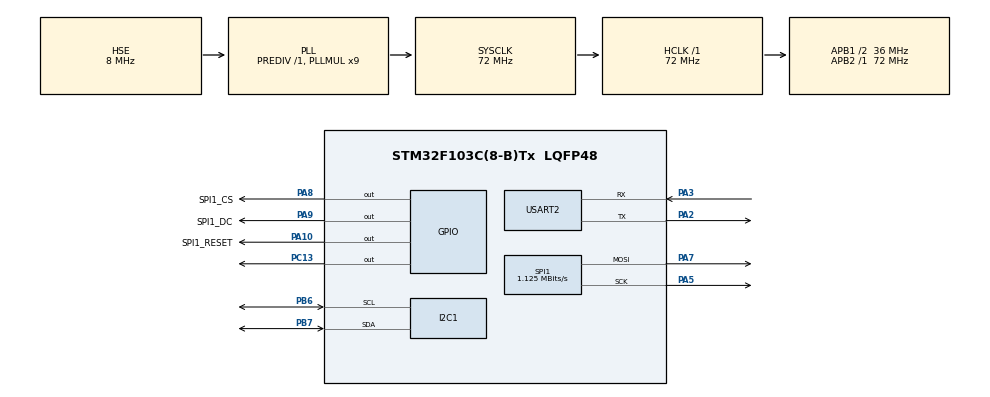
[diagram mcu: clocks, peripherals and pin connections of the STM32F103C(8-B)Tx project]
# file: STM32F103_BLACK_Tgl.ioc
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Mcu.Family=STM32F1
Mcu.Name=STM32F103C(8-B)Tx
Mcu.Package=LQFP48
NVIC.PriorityGroup=NVIC_PRIORITYGROUP_4
NVIC.TIM2_IRQn=true\:0\:0\:false\:false\:true\:true
NVIC.TIM3_IRQn=true\:0\:0\:false\:false\:true\:true
PA10.GPIO_Label=SPI1_RESET
PA10.Signal=GPIO_Output
PA2.Mode=Asynchronous
PA2.Signal=USART2_TX
PA3.Mode=Asynchronous
PA3.Signal=USART2_RX
PA5.Mode=TX_Only_Simplex_Unidirect_Master
PA5.Signal=SPI1_SCK
PA7.Mode=TX_Only_Simplex_Unidirect_Master
PA7.Signal=SPI1_MOSI
PA8.GPIO_Label=SPI1_CS
PA8.Signal=GPIO_Output
PA9.GPIO_Label=SPI1_DC
PA9.Signal=GPIO_Output
PB6.GPIO_Speed=GPIO_SPEED_FREQ_HIGH
PB6.Mode=I2C
PB6.Signal=I2C1_SCL
PB7.GPIO_Speed=GPIO_SPEED_FREQ_HIGH
PB7.Mode=I2C
PB7.Signal=I2C1_SDA
PC13-TAMPER-RTC.Signal=GPIO_Output
PD0-OSC_IN.Mode=HSE-External-Oscillator
PD0-OSC_IN.Signal=RCC_OSC_IN
PD1-OSC_OUT.Mode=HSE-External-Oscillator
PD1-OSC_OUT.Signal=RCC_OSC_OUT
ProjectManager.HeapSize=0x200
ProjectManager.StackSize=0x400
ProjectManager.TargetToolchain=TrueSTUDIO
RCC.AHBFreq_Value=72000000
RCC.APB1CLKDivider=RCC_HCLK_DIV2
RCC.APB1Freq_Value=36000000
RCC.APB1TimFreq_Value=72000000
RCC.APB2Freq_Value=72000000
RCC.APB2TimFreq_Value=72000000
RCC.HCLKFreq_Value=72000000
RCC.PLLMUL=RCC_PLL_MUL9
RCC.PLLSourceVirtual=RCC_PLLSOURCE_HSE
RCC.SYSCLKFreq_VALUE=72000000
RCC.SYSCLKSource=RCC_SYSCLKSOURCE_PLLCLK
RCC.USBFreq_Value=72000000
SPI1.BaudRatePrescaler=SPI_BAUDRATEPRESCALER_64
SPI1.CalculateBaudRate=1.125 MBits/s
SPI1.Direction=SPI_DIRECTION_2LINES
SPI1.Mode=SPI_MODE_MASTER
SPI1.VirtualType=VM_MASTER
TIM2.Period=9999
TIM2.Prescaler=7199
TIM3.Period=4999
TIM3.Prescaler=7199
USART2.VirtualMode=VM_ASYNC
VP_SYS_VS_ND.Mode=No_Debug
VP_TIM2_VS_ClockSourceINT.Mode=Internal
VP_TIM3_VS_ClockSourceINT.Mode=Internal
board=custom

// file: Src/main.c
/**
  ******************************************************************************
  * @file           : main.c
  * @brief          : Main program body
  ******************************************************************************
  ** This notice applies to any and all portions of this file
  * that are not between comment pairs USER CODE BEGIN and
  * USER CODE END. Other portions of this file, whether
  * inserted by the user or by software development tools
  * are owned by their respective copyright owners.
  *
  * COPYRIGHT(c) 2018 STMicroelectronics
  *
  * Redistribution and use in source and binary forms, with or without modification,
  * are permitted provided that the following conditions are met:
  *   1. Redistributions of source code must retain the above copyright notice,
  *      this list of conditions and the following disclaimer.
  *   2. Redistributions in binary form must reproduce the above copyright notice,
  *      this list of conditions and the following disclaimer in the documentation
  *      and/or other materials provided with the distribution.
  *   3. Neither the name of STMicroelectronics nor the names of its contributors
  *      may be used to endorse or promote products derived from this software
  *      without specific prior written permission.
  *
  * THIS SOFTWARE IS PROVIDED BY THE COPYRIGHT HOLDERS AND CONTRIBUTORS "AS IS"
  * AND ANY EXPRESS OR IMPLIED WARRANTIES, INCLUDING, BUT NOT LIMITED TO, THE
  * IMPLIED WARRANTIES OF MERCHANTABILITY AND FITNESS FOR A PARTICULAR PURPOSE ARE
  * DISCLAIMED. IN NO EVENT SHALL THE COPYRIGHT HOLDER OR CONTRIBUTORS BE LIABLE
  * FOR ANY DIRECT, INDIRECT, INCIDENTAL, SPECIAL, EXEMPLARY, OR CONSEQUENTIAL
  * DAMAGES (INCLUDING, BUT NOT LIMITED TO, PROCUREMENT OF SUBSTITUTE GOODS OR
  * SERVICES; LOSS OF USE, DATA, OR PROFITS; OR BUSINESS INTERRUPTION) HOWEVER
  * CAUSED AND ON ANY THEORY OF LIABILITY, WHETHER IN CONTRACT, STRICT LIABILITY,
  * OR TORT (INCLUDING NEGLIGENCE OR OTHERWISE) ARISING IN ANY WAY OUT OF THE USE
  * OF THIS SOFTWARE, EVEN IF ADVISED OF THE POSSIBILITY OF SUCH DAMAGE.
  *
  ******************************************************************************
  */
#include "main.h"
#include "stm32f1xx_hal.h"

/* USER CODE BEGIN Includes */
#include <stdio.h>
#include <string.h>
#include "u8g.h"
#include "u8g_arm.h"   // spi설정을 위해서 반드시 수정해야 하는 header파일
#include "userDelay.h"
/* USER CODE END Includes */

I2C_HandleTypeDef hi2c1;

SPI_HandleTypeDef hspi1;

TIM_HandleTypeDef htim2;
TIM_HandleTypeDef htim3;

UART_HandleTypeDef huart2;

/* USER CODE BEGIN PV */
/* Private variables ---------------------------------------------------------*/
#define I2C_ADDR     (0x44<<1)

u8g_t 	u8g;
uint8_t		Tx_I2C_Data[2];
uint8_t 	Rx_I2C_Data[6];

/* USER CODE END PV */

void SystemClock_Config(void);
static void MX_GPIO_Init(void);
static void MX_USART2_UART_Init(void);
static void MX_SPI1_Init(void);
static void MX_I2C1_Init(void);
static void MX_TIM2_Init(void);
static void MX_TIM3_Init(void);

/* USER CODE BEGIN PFP */
/* Private function prototypes -----------------------------------------------*/
void HAL_TIM_PeriodElapsedCallback(TIM_HandleTypeDef *htim);

/* USER CODE END PFP */

/* USER CODE BEGIN 0 */
char prtData1[20];
char prtData2[20];
uint16_t temp,humi;
double  Ftemp, Fhumi;
uint8_t		count = 0;

void HAL_TIM_PeriodElapsedCallback(TIM_HandleTypeDef *htim)
{
	if(htim->Instance==TIM2) {
		if(count++==2)
		{
			count = 0;
			Tx_I2C_Data[0] = 0x00;
			while(HAL_I2C_Master_Transmit(&hi2c1,(uint16_t)I2C_ADDR,(uint8_t *)&Tx_I2C_Data,0,1000)!=HAL_OK);
			delay_ms(50);
			while(HAL_I2C_Master_Receive (&hi2c1,(uint16_t)I2C_ADDR,(uint8_t *)Rx_I2C_Data,4,1000)!=HAL_OK);

			temp = 0;
			temp = (Rx_I2C_Data[0]<<8) | Rx_I2C_Data[1];
			temp &= 0x3FFF;
			Fhumi = (temp/16383.0)*100.0;

			humi = 0;
			humi = (Rx_I2C_Data[2]<<8) | Rx_I2C_Data[3];
			humi &= 0xFFFC;
			Ftemp = (humi/4.0/16383)*165.0-40;

			// send data to Remote per 5 sec
			sprintf(prtData1,"%8.3f C ",Ftemp);
			sprintf(prtData2,"%8.3f %% ",Fhumi);
			HAL_UART_Transmit(&huart2,(uint8_t *)prtData1, strlen(prtData1),1000);
			HAL_UART_Transmit(&huart2,(uint8_t *)prtData2, strlen(prtData2),1000);
			HAL_UART_Transmit(&huart2,(uint8_t *)"\r\n", 2,1000);

			u8g_FirstPage(&u8g);
			do
			{
			       u8g.font = u8g_font_profont22;   //  u8g_font_profont12
			       u8g_DrawStr(&u8g, 2, 25,prtData1);
			       u8g.font = u8g_font_profont22;   //  u8g_font_profont12
			       u8g_DrawStr(&u8g, 2, 55,prtData2);
			} while ( u8g_NextPage(&u8g) );

		}
	}
	else if(htim->Instance==TIM3) {
		HAL_GPIO_TogglePin(GPIOC, GPIO_PIN_13);
	}
}

/* USER CODE END 0 */

int main(void)
{

  /* MCU Configuration----------------------------------------------------------*/

  /* Reset of all peripherals, Initializes the Flash interface and the Systick. */
  HAL_Init();

  /* Configure the system clock */
  SystemClock_Config();

  /* Initialize all configured peripherals */
  MX_GPIO_Init();
  MX_USART2_UART_Init();
  MX_SPI1_Init();
  MX_I2C1_Init();
  MX_TIM2_Init();
  MX_TIM3_Init();
  /* USER CODE BEGIN 2 */
  while(HAL_TIM_Base_Start_IT(&htim2)!=HAL_OK);
  while(HAL_TIM_Base_Start_IT(&htim3)!=HAL_OK);

  // USART Receive Interrupt1,2

  u8g_InitComFn(&u8g, &u8g_dev_sh1106_128x64_hw_spi, u8g_com_hw_spi_fn);
  HAL_Delay(100);

  u8g_FirstPage(&u8g);
  do
  {
       u8g.font = u8g_font_profont22;   //  u8g_font_profont12
       u8g_DrawStr(&u8g, 2, 25,"Code Test...");
       u8g.font = u8g_font_profont29;   //  u8g_font_profont12
       u8g_DrawStr(&u8g, 2, 55,"Code Test...");
  } while ( u8g_NextPage(&u8g) );
  /* USER CODE END 2 */

  /* Infinite loop */
  while (1)
  {

  /* USER CODE BEGIN 3 */
		//HAL_UART_Transmit(&huart2,(uint8_t *)"OLED012345\r\n", 12,1000);
		// HAL_GPIO_TogglePin(GPIOC, GPIO_PIN_13);
		// HAL_Delay(500);
  }
  /* USER CODE END 3 */

}

void SystemClock_Config(void)
{

  RCC_OscInitTypeDef RCC_OscInitStruct;
  RCC_ClkInitTypeDef RCC_ClkInitStruct;

    /**Initializes the CPU, AHB and APB busses clocks
    */
  RCC_OscInitStruct.OscillatorType = RCC_OSCILLATORTYPE_HSE;
  RCC_OscInitStruct.HSEState = RCC_HSE_ON;
  RCC_OscInitStruct.HSEPredivValue = RCC_HSE_PREDIV_DIV1;
  RCC_OscInitStruct.HSIState = RCC_HSI_ON;
  RCC_OscInitStruct.PLL.PLLState = RCC_PLL_ON;
  RCC_OscInitStruct.PLL.PLLSource = RCC_PLLSOURCE_HSE;
  RCC_OscInitStruct.PLL.PLLMUL = RCC_PLL_MUL9;
  if (HAL_RCC_OscConfig(&RCC_OscInitStruct) != HAL_OK)
  {
    _Error_Handler(__FILE__, __LINE__);
  }

    /**Initializes the CPU, AHB and APB busses clocks
    */
  RCC_ClkInitStruct.ClockType = RCC_CLOCKTYPE_HCLK|RCC_CLOCKTYPE_SYSCLK
                              |RCC_CLOCKTYPE_PCLK1|RCC_CLOCKTYPE_PCLK2;
  RCC_ClkInitStruct.SYSCLKSource = RCC_SYSCLKSOURCE_PLLCLK;
  RCC_ClkInitStruct.AHBCLKDivider = RCC_SYSCLK_DIV1;
  RCC_ClkInitStruct.APB1CLKDivider = RCC_HCLK_DIV2;
  RCC_ClkInitStruct.APB2CLKDivider = RCC_HCLK_DIV1;

  if (HAL_RCC_ClockConfig(&RCC_ClkInitStruct, FLASH_LATENCY_2) != HAL_OK)
  {
    _Error_Handler(__FILE__, __LINE__);
  }

    /**Configure the Systick interrupt time
    */
  HAL_SYSTICK_Config(HAL_RCC_GetHCLKFreq()/1000);

    /**Configure the Systick
    */
  HAL_SYSTICK_CLKSourceConfig(SYSTICK_CLKSOURCE_HCLK);

  /* SysTick_IRQn interrupt configuration */
  HAL_NVIC_SetPriority(SysTick_IRQn, 0, 0);
}

/* I2C1 init function */
static void MX_I2C1_Init(void)
{

  hi2c1.Instance = I2C1;
  hi2c1.Init.ClockSpeed = 100000;
  hi2c1.Init.DutyCycle = I2C_DUTYCYCLE_2;
  hi2c1.Init.OwnAddress1 = 0;
  hi2c1.Init.AddressingMode = I2C_ADDRESSINGMODE_7BIT;
  hi2c1.Init.DualAddressMode = I2C_DUALADDRESS_DISABLE;
  hi2c1.Init.OwnAddress2 = 0;
  hi2c1.Init.GeneralCallMode = I2C_GENERALCALL_DISABLE;
  hi2c1.Init.NoStretchMode = I2C_NOSTRETCH_DISABLE;
  if (HAL_I2C_Init(&hi2c1) != HAL_OK)
  {
    _Error_Handler(__FILE__, __LINE__);
  }

}

/* SPI1 init function */
static void MX_SPI1_Init(void)
{

  /* SPI1 parameter configuration*/
  hspi1.Instance = SPI1;
  hspi1.Init.Mode = SPI_MODE_MASTER;
  hspi1.Init.Direction = SPI_DIRECTION_2LINES;
  hspi1.Init.DataSize = SPI_DATASIZE_8BIT;
  hspi1.Init.CLKPolarity = SPI_POLARITY_LOW;
  hspi1.Init.CLKPhase = SPI_PHASE_1EDGE;
  hspi1.Init.NSS = SPI_NSS_SOFT;
  hspi1.Init.BaudRatePrescaler = SPI_BAUDRATEPRESCALER_64;
  hspi1.Init.FirstBit = SPI_FIRSTBIT_MSB;
  hspi1.Init.TIMode = SPI_TIMODE_DISABLE;
  hspi1.Init.CRCCalculation = SPI_CRCCALCULATION_DISABLE;
  hspi1.Init.CRCPolynomial = 10;
  if (HAL_SPI_Init(&hspi1) != HAL_OK)
  {
    _Error_Handler(__FILE__, __LINE__);
  }

}

/* TIM2 init function */
static void MX_TIM2_Init(void)
{

  TIM_ClockConfigTypeDef sClockSourceConfig;
  TIM_MasterConfigTypeDef sMasterConfig;

  htim2.Instance = TIM2;
  htim2.Init.Prescaler = 7199;
  htim2.Init.CounterMode = TIM_COUNTERMODE_UP;
  htim2.Init.Period = 9999;
  htim2.Init.ClockDivision = TIM_CLOCKDIVISION_DIV1;
  htim2.Init.AutoReloadPreload = TIM_AUTORELOAD_PRELOAD_DISABLE;
  if (HAL_TIM_Base_Init(&htim2) != HAL_OK)
  {
    _Error_Handler(__FILE__, __LINE__);
  }

  sClockSourceConfig.ClockSource = TIM_CLOCKSOURCE_INTERNAL;
  if (HAL_TIM_ConfigClockSource(&htim2, &sClockSourceConfig) != HAL_OK)
  {
    _Error_Handler(__FILE__, __LINE__);
  }

  sMasterConfig.MasterOutputTrigger = TIM_TRGO_RESET;
  sMasterConfig.MasterSlaveMode = TIM_MASTERSLAVEMODE_DISABLE;
  if (HAL_TIMEx_MasterConfigSynchronization(&htim2, &sMasterConfig) != HAL_OK)
  {
    _Error_Handler(__FILE__, __LINE__);
  }

}

/* TIM3 init function */
static void MX_TIM3_Init(void)
{

  TIM_ClockConfigTypeDef sClockSourceConfig;
  TIM_MasterConfigTypeDef sMasterConfig;

  htim3.Instance = TIM3;
  htim3.Init.Prescaler = 7199;
  htim3.Init.CounterMode = TIM_COUNTERMODE_UP;
  htim3.Init.Period = 4999;
  htim3.Init.ClockDivision = TIM_CLOCKDIVISION_DIV1;
  htim3.Init.AutoReloadPreload = TIM_AUTORELOAD_PRELOAD_DISABLE;
  if (HAL_TIM_Base_Init(&htim3) != HAL_OK)
  {
    _Error_Handler(__FILE__, __LINE__);
  }

  sClockSourceConfig.ClockSource = TIM_CLOCKSOURCE_INTERNAL;
  if (HAL_TIM_ConfigClockSource(&htim3, &sClockSourceConfig) != HAL_OK)
  {
    _Error_Handler(__FILE__, __LINE__);
  }

  sMasterConfig.MasterOutputTrigger = TIM_TRGO_RESET;
  sMasterConfig.MasterSlaveMode = TIM_MASTERSLAVEMODE_DISABLE;
  if (HAL_TIMEx_MasterConfigSynchronization(&htim3, &sMasterConfig) != HAL_OK)
  {
    _Error_Handler(__FILE__, __LINE__);
  }

}

/* USART2 init function */
static void MX_USART2_UART_Init(void)
{

  huart2.Instance = USART2;
  huart2.Init.BaudRate = 115200;
  huart2.Init.WordLength = UART_WORDLENGTH_8B;
  huart2.Init.StopBits = UART_STOPBITS_1;
  huart2.Init.Parity = UART_PARITY_NONE;
  huart2.Init.Mode = UART_MODE_TX_RX;
  huart2.Init.HwFlowCtl = UART_HWCONTROL_NONE;
  huart2.Init.OverSampling = UART_OVERSAMPLING_16;
  if (HAL_UART_Init(&huart2) != HAL_OK)
  {
    _Error_Handler(__FILE__, __LINE__);
  }

}

/** Configure pins as
        * Analog
        * Input
        * Output
        * EVENT_OUT
        * EXTI
*/
static void MX_GPIO_Init(void)
{

  GPIO_InitTypeDef GPIO_InitStruct;

  /* GPIO Ports Clock Enable */
  __HAL_RCC_GPIOC_CLK_ENABLE();
  __HAL_RCC_GPIOD_CLK_ENABLE();
  __HAL_RCC_GPIOA_CLK_ENABLE();
  __HAL_RCC_GPIOB_CLK_ENABLE();

  /*Configure GPIO pin Output Level */
  HAL_GPIO_WritePin(GPIOC, GPIO_PIN_13, GPIO_PIN_RESET);

  /*Configure GPIO pin Output Level */
  HAL_GPIO_WritePin(GPIOA, SPI1_CS_Pin|SPI1_DC_Pin|SPI1_RESET_Pin, GPIO_PIN_RESET);

  /*Configure GPIO pin : PC13 */
  GPIO_InitStruct.Pin = GPIO_PIN_13;
  GPIO_InitStruct.Mode = GPIO_MODE_OUTPUT_PP;
  GPIO_InitStruct.Pull = GPIO_NOPULL;
  GPIO_InitStruct.Speed = GPIO_SPEED_FREQ_LOW;
  HAL_GPIO_Init(GPIOC, &GPIO_InitStruct);

  /*Configure GPIO pins : SPI1_CS_Pin SPI1_DC_Pin SPI1_RESET_Pin */
  GPIO_InitStruct.Pin = SPI1_CS_Pin|SPI1_DC_Pin|SPI1_RESET_Pin;
  GPIO_InitStruct.Mode = GPIO_MODE_OUTPUT_PP;
  GPIO_InitStruct.Pull = GPIO_NOPULL;
  GPIO_InitStruct.Speed = GPIO_SPEED_FREQ_LOW;
  HAL_GPIO_Init(GPIOA, &GPIO_InitStruct);

}

void _Error_Handler(char *file, int line)
{
  while(1)
  {
  }
}

/************************ (C) COPYRIGHT STMicroelectronics *****END OF FILE****/
